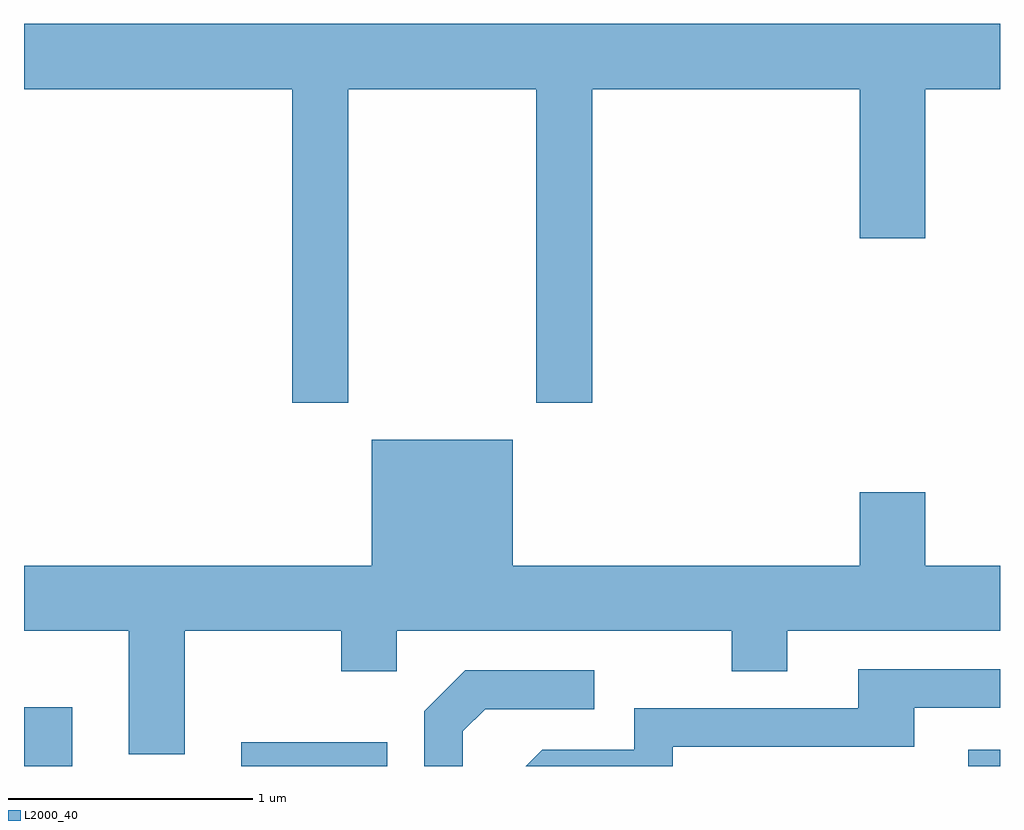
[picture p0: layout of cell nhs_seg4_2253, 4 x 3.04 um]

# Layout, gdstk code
import gdstk
lib = gdstk.Library(unit=1e-6, precision=1e-09)
def R(c, l, rs):  # rectangles x0, y0, x1, y1
    for r in rs: c.add(gdstk.rectangle(r[:2], r[2:], *l))
def P(c, l, *ps):  # polygons
    for p in ps: c.add(gdstk.Polygon(p, *l))
L2000_40 = (2000, 40)

nhs_seg4_2253 = lib.new_cell('nhs_seg4_2253')
R(nhs_seg4_2253, L2000_40, [(251.611,1271.982,251.809,1272.224), (252.501,1271.982,253.099,1272.079), (255.481,1271.982,255.611,1272.049)])
P(nhs_seg4_2253, L2000_40, [(252.939,1274.756),(253.711,1274.756),(253.711,1273.471),(253.939,1273.471),(253.939,1274.756),(255.036,1274.756),(255.036,1274.146),(255.304,1274.146),(255.304,1274.756),(255.611,1274.756),(255.611,1275.024),(251.611,1275.024),(251.611,1274.756),(252.711,1274.756),(252.711,1273.471),(252.939,1273.471)],
  [(252.269,1272.536),(252.911,1272.536),(252.911,1272.371),(253.139,1272.371),(253.139,1272.536),(254.511,1272.536),(254.511,1272.371),(254.739,1272.371),(254.739,1272.536),(255.611,1272.536),(255.611,1272.804),(255.304,1272.804),(255.304,1273.104),(255.036,1273.104),(255.036,1272.804),(253.614,1272.804),(253.614,1273.319),(253.036,1273.319),(253.036,1272.804),(251.611,1272.804),(251.611,1272.536),(252.041,1272.536),(252.041,1272.031),(252.269,1272.031)],
  [(254.269,1272.061),(255.259,1272.061),(255.259,1272.221),(255.611,1272.221),(255.611,1272.379),(255.031,1272.379),(255.031,1272.219),(254.111,1272.219),(254.111,1272.049),(253.734,1272.049),(253.667,1271.982),(254.269,1271.982)],
  [(253.409,1272.124),(253.502,1272.216),(253.948,1272.216),(253.948,1272.374),(253.419,1272.374),(253.251,1272.207),(253.251,1271.982),(253.409,1271.982)])

lib.write_gds('nhs_seg4_2253.gds')
